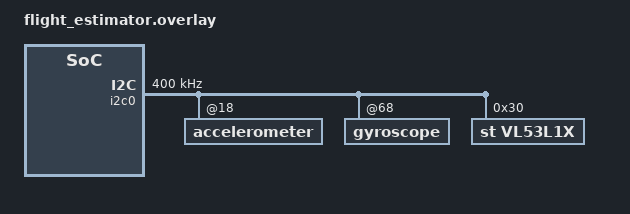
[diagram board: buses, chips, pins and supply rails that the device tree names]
/*
 * Flight controller, Phase 1: state estimation on the bench, no actuation.
 *
 * Only the IMU is exposed. The application selects its subsystems from device-tree aliases --
 * HAVE_FLOW/HAVE_TOF/HAVE_BARO in main.cpp, plus DT_NODE_EXISTS(DT_ALIAS(motors)) around the
 * whole PWM actuator block -- so declaring nothing else here compiles the optical flow, the
 * down-ToF, the barometer, the side-ToF bumper and every motor output OUT of the image. That is
 * a stronger guarantee than a runtime disarm: there is no code path to a motor in this build.
 *
 * Sensors are added one alias at a time as each is verified. See docs/flight-on-fpga.md.
 */

&i2c0 {
	/*
	 * 400 kHz, not the 100 kHz that hardware/zephyr/fpga-drone.overlay sets.
	 *
	 * This is a hard requirement of the control rate, not a tuning preference. Each control
	 * iteration reads the accelerometer and the gyroscope over I2C: roughly 90 bits of bus
	 * traffic each once addressing, register selection, the repeated START and the ACK bits
	 * are counted, so ~180 bits per iteration.
	 *
	 *   100 kHz -> ~1.8 ms per iteration -> ~550 Hz ceiling, BELOW the 1 kHz loop
	 *   400 kHz -> ~0.45 ms per iteration -> ~2.2 kHz ceiling, with margin
	 *
	 * At 100 kHz the loop cannot reach its rate no matter how fast Rocket is, and the failure
	 * looks like a slow controller rather than a slow bus. 400 kHz is what the ESP board runs
	 * (I2C_BITRATE_FAST) and is within spec for every device on this bus -- BMI088 and ADS7128
	 * are rated to 1 MHz, the VL53 parts to 400 kHz.
	 */
	clock-frequency = <400000>;

	/*
	 * Match the rates the flight build actually used. fpga-drone.overlay asks for 200 Hz on
	 * both, which was fine for a sensor-liveness check and is not fine here: a 1 kHz control
	 * loop fed by a 200 Hz gyro is running five iterations on each sample, so the estimator
	 * integrates stale rate data and the derivative terms see quantised steps.
	 *
	 * 800 Hz accel / 1000 Hz gyro (116 Hz bandwidth) are the ESP flight-build values.
	 */
	accelerometer@18 {
		accel-hz = "800";
	};

	gyroscope@68 {
		gyro-hz = "1000_116";
	};

	/*
	 * Down-facing VL53L1X, declared at 0x30 rather than its power-on 0x29.
	 *
	 * The part boots at 0x29 and main.cpp's vl53l1x_readdress_down() moves it
	 * to VL53L1X_DOWN_ADDR before the ST driver's deferred init runs, so this
	 * reg MUST equal that constant (0x30) or the driver talks to nothing.
	 *
	 * Declaring the node is what compiles the altitude path in at all, and it
	 * does two things at once: `st,vl53l1x` being status-okay pulls in
	 * board_sensor_init(), which is what raises this sensor's XSHUT through
	 * ADS7128 GPIO6, and the `tof` alias below sets HAVE_TOF. Without the node
	 * the estimator ran with tofv=0 on every sample and z dead-reckoned off
	 * accel -- 11 m of drift over 500 samples -- which reads as an estimator
	 * fault and is a missing device-tree entry.
	 *
	 * Channel 6 is not a guess: the schematic nets ADS7128 GPIO6 to U9, the
	 * down VL53L1X, and bootup_check brings it up on that channel and reads
	 * back id 0xeacc.
	 */
	vl53l1x: vl53l1x@30 {
		compatible = "st,vl53l1x";
		reg = <0x30>;
		status = "okay";
	};
};
/ {
	aliases {
		tof = &vl53l1x;
	};
};
